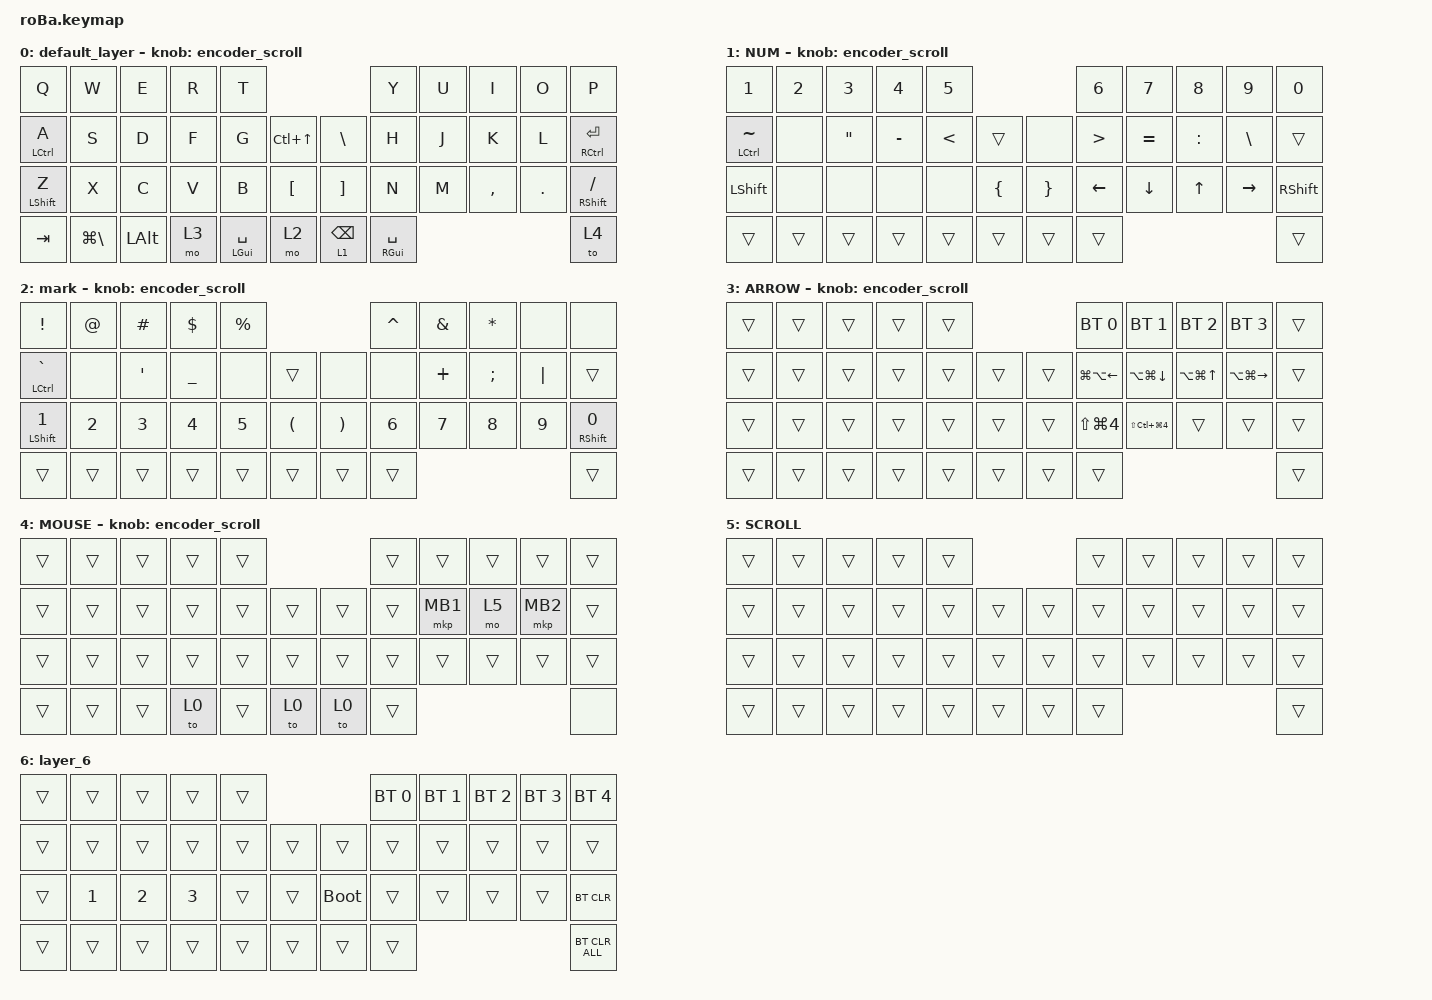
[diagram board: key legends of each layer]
// エンコーダーのスクロール量（既定値10は小さすぎるため引き上げる）。
// pointing.h の #ifndef ガードより前に定義しないと上書きが効かない。

#define ZMK_POINTING_DEFAULT_SCRL_VAL 80

#include <behaviors.dtsi>
#include <dt-bindings/zmk/bt.h>
#include <dt-bindings/zmk/keys.h>
#include <dt-bindings/zmk/pointing.h>

&mt {
    flavor = "balanced";

    // 同じキーを tap した直後（200ms以内）に再度押した場合は、長押ししても hold（修飾キー）
    // ではなく tap 扱いにする。tap → そのまま長押しで同じ文字を連打（リピート）できる。

    quick-tap-ms = <200>;
};

&lt {
    // mod-tap と同様、同じキーを tap した直後（200ms以内）の再押下は hold（レイヤー）ではなく
    // tap として扱い、同じキーを連打できるようにする。

    quick-tap-ms = <200>;
};

&trackball {
    // トラックボールを動かすとマウスレイヤー(4)へ自動で切り替える（automouse）。
    // 発動の鈍さ（入りにくさ）は roBa_R.conf の CONFIG_PMW3610_MOVEMENT_THRESHOLD で調整する。

    automouse-layer = <4>;
    scroll-layers = <5>;

    // arrows {
    //     layers = <3>;
    //     bindings =
    //         <&kp RIGHT_ARROW>,
    //         <&kp LEFT_ARROW>,
    //         <&kp UP_ARROW>,
    //         <&kp DOWN_ARROW>;
    //     tick = <10>;
    //     wait-ms = <5>;
    //     tap-ms = <5>;
    // };
};

/ {
    combos {
        compatible = "zmk,combos";

        escape {
            bindings = <&kp ESCAPE>;
            key-positions = <17 20>;
        };

        // , + . 同時押しでスクロールレイヤー(5)をトグル。
        // ON の間はトラックボールの動きがマウスホイールのスクロールになる（scroll-layers = <5>）。
        // もう一度 , + . を押すと OFF に戻る。

        scroll_toggle {
            bindings = <&tog 5>;
            key-positions = <31 32>;
            timeout-ms = <50>;
        };

        kana {
            bindings = <&kp LANGUAGE_1>;
            key-positions = <19 20>;
            layers = <0>;
        };

        eiji {
            bindings = <&kp LANGUAGE_2>;
            key-positions = <12 11>;
            layers = <0>;
        };

        back-def-0 {
            bindings = <&to 0>;
            key-positions = <19 20>;
            layers = <4>;
        };

        back-def-1 {
            bindings = <&to 0>;
            key-positions = <12 11>;
            layers = <4>;
        };
    };

    macros {
        to_layer_0: to_layer_0 {
            compatible = "zmk,behavior-macro-one-param";
            #binding-cells = <1>;
            bindings = <&to 0 &macro_param_1to1 &kp MACRO_PLACEHOLDER>;
            label = "TO_LAYER_0";
        };
    };

    behaviors {
        lt_to_layer_0: lt_to_layer_0 {
            compatible = "zmk,behavior-hold-tap";
            label = "LAYER_TAP_TO_0";
            bindings = <&mo>, <&to_layer_0>;

            #binding-cells = <2>;
            tapping-term-ms = <200>;
        };

        // エンコーダーをマウスホイール化する挙動。
        // エンコーダーは1ノッチが一瞬の押下のため、tap-ms で &msc を保持して
        // スクロール量を確保する（tap-ms が無いとほぼ反応しない）。

        encoder_scroll: encoder_scroll {
            compatible = "zmk,behavior-sensor-rotate";
            #sensor-binding-cells = <0>;
            bindings = <&msc SCRL_DOWN>, <&msc SCRL_UP>;

            tap-ms = <20>;
        };
    };

    keymap {
        compatible = "zmk,keymap";

        default_layer {
            bindings = <
&kp Q             &kp W              &kp E         &kp R  &kp T                                                        &kp Y                &kp U  &kp I      &kp O    &kp P
&mt LCTRL A       &kp S              &kp D         &kp F  &kp G               &kp LC(UP_ARROW)      &kp BACKSLASH      &kp H                &kp J  &kp K      &kp L    &mt RCTRL ENTER
&mt LEFT_SHIFT Z  &kp X              &kp C         &kp V  &kp B               &kp LEFT_BRACKET      &kp RIGHT_BRACKET  &kp N                &kp M  &kp COMMA  &kp DOT  &mt RIGHT_SHIFT SLASH
&kp TAB           &kp LG(BACKSLASH)  &kp LEFT_ALT  &mo 3  &mt LEFT_GUI SPACE  &mo 2                 &lt 1 BACKSPACE    &mt RIGHT_GUI SPACE                             &to 4
            >;

            sensor-bindings = <&encoder_scroll>;
        };

        NUM {
            bindings = <
&kp NUMBER_1     &kp NUMBER_2  &kp NUMBER_3       &kp NUMBER_4  &kp NUMBER_5                                        &kp NUMBER_6      &kp NUMBER_7  &kp NUMBER_8  &kp NUMBER_9   &kp NUMBER_0
&mt LCTRL TILDE  &none         &kp DOUBLE_QUOTES  &kp MINUS     &kp LESS_THAN  &trans              &none            &kp GREATER_THAN  &kp EQUAL     &kp COLON     &kp BACKSLASH  &trans
&kp LSHIFT       &none         &none              &none         &none          &kp LEFT_BRACE      &kp RIGHT_BRACE  &kp LEFT          &kp DOWN      &kp UP_ARROW  &kp RIGHT      &kp RIGHT_SHIFT
&trans           &trans        &trans             &trans        &trans         &trans              &trans           &trans                                                       &trans
            >;

            sensor-bindings = <&encoder_scroll>;
        };

        mark {
            bindings = <
&kp EXCL           &kp AT  &kp HASH          &kp DLLR   &kp PERCENT                                                   &kp CARET  &kp AMPERSAND  &kp ASTERISK  &none     &none
&mt LCTRL GRAVE    &none   &kp SINGLE_QUOTE  &kp UNDER  &none        &trans                    &none                  &none      &kp PLUS       &kp SEMI      &kp PIPE  &trans
&mt LEFT_SHIFT N1  &kp N2  &kp N3            &kp N4     &kp N5       &kp LEFT_PARENTHESIS      &kp RIGHT_PARENTHESIS  &kp N6     &kp N7         &kp N8        &kp N9    &mt RIGHT_SHIFT N0
&trans             &trans  &trans            &trans     &trans       &trans                    &trans                 &trans                                            &trans
            >;

            sensor-bindings = <&encoder_scroll>;
        };

        ARROW {
            bindings = <
&trans  &trans  &trans  &trans  &trans                      &bt BT_SEL 0      &bt BT_SEL 1            &bt BT_SEL 2          &bt BT_SEL 3       &trans
&trans  &trans  &trans  &trans  &trans  &trans      &trans  &kp LG(LA(LEFT))  &kp LA(LG(DOWN_ARROW))  &kp LA(LG(UP_ARROW))  &kp LA(LG(RIGHT))  &trans
&trans  &trans  &trans  &trans  &trans  &trans      &trans  &kp LS(LG(N4))    &kp LS(LC(LG(N4)))      &trans                &trans             &trans
&trans  &trans  &trans  &trans  &trans  &trans      &trans  &trans                                                                             &trans
            >;

            sensor-bindings = <&encoder_scroll>;
        };

        MOUSE {
            bindings = <
&trans  &trans  &trans  &trans  &trans                      &trans  &trans    &trans  &trans    &trans
&trans  &trans  &trans  &trans  &trans  &trans      &trans  &trans  &mkp MB1  &mo 5   &mkp MB2  &trans
&trans  &trans  &trans  &trans  &trans  &trans      &trans  &trans  &trans    &trans  &trans    &trans
&trans  &trans  &trans  &to 0   &trans  &to 0       &to 0   &trans                              &none
            >;

            sensor-bindings = <&encoder_scroll>;
        };

        SCROLL {
            bindings = <
&trans  &trans  &trans  &trans  &trans                      &trans  &trans  &trans  &trans  &trans
&trans  &trans  &trans  &trans  &trans  &trans      &trans  &trans  &trans  &trans  &trans  &trans
&trans  &trans  &trans  &trans  &trans  &trans      &trans  &trans  &trans  &trans  &trans  &trans
&trans  &trans  &trans  &trans  &trans  &trans      &trans  &trans                          &trans
            >;
        };

        layer_6 {
            bindings = <
&trans  &trans        &trans        &trans        &trans                           &bt BT_SEL 0  &bt BT_SEL 1  &bt BT_SEL 2  &bt BT_SEL 3  &bt BT_SEL 4
&trans  &trans        &trans        &trans        &trans  &trans      &trans       &trans        &trans        &trans        &trans        &trans
&trans  &kp NUMBER_1  &kp NUMBER_2  &kp NUMBER_3  &trans  &trans      &bootloader  &trans        &trans        &trans        &trans        &bt BT_CLR
&trans  &trans        &trans        &trans        &trans  &trans      &trans       &trans                                                  &bt BT_CLR_ALL
            >;
        };
    };
};
